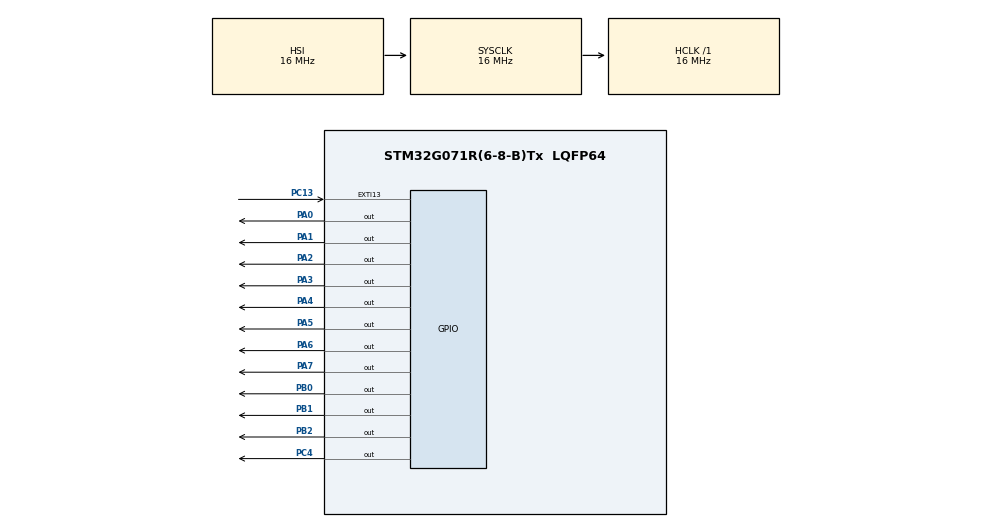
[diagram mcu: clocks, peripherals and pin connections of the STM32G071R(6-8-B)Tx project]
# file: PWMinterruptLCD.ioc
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Mcu.Family=STM32G0
Mcu.Name=STM32G071R(6-8-B)Tx
Mcu.Package=LQFP64
NVIC.EXTI4_15_IRQn=true\:0\:0\:false\:false\:true\:true\:true
PA0.Signal=GPIO_Output
PA1.Signal=GPIO_Output
PA2.Signal=GPIO_Output
PA3.Signal=GPIO_Output
PA4.Signal=GPIO_Output
PA5.Signal=GPIO_Output
PA6.Signal=GPIO_Output
PA7.Signal=GPIO_Output
PB0.Signal=GPIO_Output
PB1.Signal=GPIO_Output
PB2.Signal=GPIO_Output
PC13.GPIO_ModeDefaultEXTI=GPIO_MODE_IT_FALLING
PC13.Signal=GPXTI13
PC4.Signal=GPIO_Output
ProjectManager.HeapSize=0x200
ProjectManager.StackSize=0x400
ProjectManager.TargetToolchain=MDK-ARM V5.27
RCC.AHBFreq_Value=16000000
RCC.CortexFreq_Value=16000000
RCC.EXTERNAL_CLOCK_VALUE=48000
RCC.HCLKFreq_Value=16000000
RCC.HSE_VALUE=8000000
RCC.HSI_VALUE=16000000
RCC.LSE_VALUE=32768
RCC.SYSCLKFreq_VALUE=16000000
RCC.VCOOutputFreq_Value=128000000
VP_SYS_VS_DBSignals.Mode=DisableDeadBatterySignals
board=custom

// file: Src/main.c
/* USER CODE BEGIN Header */
/**
  ******************************************************************************
  * @file           : main.c
  * @brief          : Main program body
  ******************************************************************************
  * @attention
  *
  * <h2><center>&copy; Copyright (c) 2021 STMicroelectronics.
  * All rights reserved.</center></h2>
  *
  * This software component is licensed by ST under BSD 3-Clause license,
  * the "License"; You may not use this file except in compliance with the
  * License. You may obtain a copy of the License at:
  *                        opensource.org/licenses/BSD-3-Clause
  *
  ******************************************************************************
  */
/* USER CODE END Header */
#include "main.h"

#define u8  unsigned char
#define u16 unsigned int

void delay(void);
void lcdwritecmd(unsigned char cmd);
void lcdwritedata(unsigned char dat);
void lcdinit(void);
void lcdsetcursor(unsigned char x, unsigned char y);
void lcdshowstr(unsigned char x, unsigned char y, unsigned char *str);

int i=0;
unsigned char tstri[2];
int location=9;
int counter=0;
unsigned char tstr[5];

/* USER CODE BEGIN PTD */
ITStatus EXTI_GetITStatus(uint32_t EXTI_Line)
{
    ITStatus bitstatus = RESET; //chushi wei zhuangtai 0
    uint32_t enablestatus = 0;  //chushi shineng zhuangtai 0
    /* Check the parameters */
    assert_param(IS_GET_EXTI_LINE(EXTI_Line));

    enablestatus =  EXTI->IMR1 & EXTI_Line;
    if (((EXTI->FPR1 & EXTI_Line) != (uint32_t)RESET) && (enablestatus != (uint32_t)RESET))
		      bitstatus = SET;
    else
        bitstatus = RESET;
    return bitstatus;
}

void EXTI_ClearITPendingBit(uint32_t EXTI_Line)
{
  /* Check the parameters */
  assert_param(IS_EXTI_LINE(EXTI_Line));

  EXTI->FPR1 = EXTI_Line;
}
/* USER CODE END PTD */

void SystemClock_Config(void);
static void MX_GPIO_Init(void);

int main(void)
{

  /* MCU Configuration--------------------------------------------------------*/

  /* Reset of all peripherals, Initializes the Flash interface and the Systick. */
  HAL_Init();

  /* Configure the system clock */
  SystemClock_Config();

  /* Initialize all configured peripherals */
  MX_GPIO_Init();
  /* USER CODE BEGIN 2 */
  lcdinit();
	delay();
	lcdshowstr(0,0,"Level");
	lcdshowstr(6,0,"0");
	lcdshowstr(11,1,"times");
	sprintf(tstr,"%d",counter);
  lcdshowstr(location,1,tstr);
  /* USER CODE END 2 */

  /* Infinite loop */
  while (1)
  {
		if(i==0)
			HAL_GPIO_WritePin(GPIOC,GPIO_PIN_4,RESET);
		else if((i>0)&&(i<5))
		{
			HAL_GPIO_WritePin(GPIOC,GPIO_PIN_4,SET);
			HAL_Delay(i);
			HAL_GPIO_WritePin(GPIOC,GPIO_PIN_4,RESET);
			HAL_Delay(5-i);
		}
		else if(i==5)
			HAL_GPIO_WritePin(GPIOC,GPIO_PIN_4,SET);
		else
			i=0;
  }
}

void SystemClock_Config(void)
{
  RCC_OscInitTypeDef RCC_OscInitStruct = {0};
  RCC_ClkInitTypeDef RCC_ClkInitStruct = {0};

  /** Configure the main internal regulator output voltage
  */
  HAL_PWREx_ControlVoltageScaling(PWR_REGULATOR_VOLTAGE_SCALE1);
  /** Initializes the RCC Oscillators according to the specified parameters
  * in the RCC_OscInitTypeDef structure.
  */
  RCC_OscInitStruct.OscillatorType = RCC_OSCILLATORTYPE_HSI;
  RCC_OscInitStruct.HSIState = RCC_HSI_ON;
  RCC_OscInitStruct.HSIDiv = RCC_HSI_DIV1;
  RCC_OscInitStruct.HSICalibrationValue = RCC_HSICALIBRATION_DEFAULT;
  RCC_OscInitStruct.PLL.PLLState = RCC_PLL_NONE;
  if (HAL_RCC_OscConfig(&RCC_OscInitStruct) != HAL_OK)
  {
    Error_Handler();
  }
  /** Initializes the CPU, AHB and APB buses clocks
  */
  RCC_ClkInitStruct.ClockType = RCC_CLOCKTYPE_HCLK|RCC_CLOCKTYPE_SYSCLK
                              |RCC_CLOCKTYPE_PCLK1;
  RCC_ClkInitStruct.SYSCLKSource = RCC_SYSCLKSOURCE_HSI;
  RCC_ClkInitStruct.AHBCLKDivider = RCC_SYSCLK_DIV1;
  RCC_ClkInitStruct.APB1CLKDivider = RCC_HCLK_DIV1;

  if (HAL_RCC_ClockConfig(&RCC_ClkInitStruct, FLASH_LATENCY_0) != HAL_OK)
  {
    Error_Handler();
  }
}

static void MX_GPIO_Init(void)
{
  GPIO_InitTypeDef GPIO_InitStruct = {0};

  /* GPIO Ports Clock Enable */
  __HAL_RCC_GPIOC_CLK_ENABLE();
  __HAL_RCC_GPIOA_CLK_ENABLE();
  __HAL_RCC_GPIOB_CLK_ENABLE();

  /*Configure GPIO pin Output Level */
  HAL_GPIO_WritePin(GPIOA, GPIO_PIN_0|GPIO_PIN_1|GPIO_PIN_2|GPIO_PIN_3
                          |GPIO_PIN_4|GPIO_PIN_5|GPIO_PIN_6|GPIO_PIN_7, GPIO_PIN_RESET);

  /*Configure GPIO pin Output Level */
  HAL_GPIO_WritePin(GPIOC, GPIO_PIN_4, GPIO_PIN_RESET);

  /*Configure GPIO pin Output Level */
  HAL_GPIO_WritePin(GPIOB, GPIO_PIN_0|GPIO_PIN_1|GPIO_PIN_2, GPIO_PIN_RESET);

  /*Configure GPIO pin : PC13 */
  GPIO_InitStruct.Pin = GPIO_PIN_13;
  GPIO_InitStruct.Mode = GPIO_MODE_IT_FALLING;
  GPIO_InitStruct.Pull = GPIO_NOPULL;
  HAL_GPIO_Init(GPIOC, &GPIO_InitStruct);

  /*Configure GPIO pins : PA0 PA1 PA2 PA3
                           PA4 PA5 PA6 PA7 */
  GPIO_InitStruct.Pin = GPIO_PIN_0|GPIO_PIN_1|GPIO_PIN_2|GPIO_PIN_3
                          |GPIO_PIN_4|GPIO_PIN_5|GPIO_PIN_6|GPIO_PIN_7;
  GPIO_InitStruct.Mode = GPIO_MODE_OUTPUT_PP;
  GPIO_InitStruct.Pull = GPIO_NOPULL;
  GPIO_InitStruct.Speed = GPIO_SPEED_FREQ_LOW;
  HAL_GPIO_Init(GPIOA, &GPIO_InitStruct);

  /*Configure GPIO pin : PC4 */
  GPIO_InitStruct.Pin = GPIO_PIN_4;
  GPIO_InitStruct.Mode = GPIO_MODE_OUTPUT_PP;
  GPIO_InitStruct.Pull = GPIO_NOPULL;
  GPIO_InitStruct.Speed = GPIO_SPEED_FREQ_LOW;
  HAL_GPIO_Init(GPIOC, &GPIO_InitStruct);

  /*Configure GPIO pins : PB0 PB1 PB2 */
  GPIO_InitStruct.Pin = GPIO_PIN_0|GPIO_PIN_1|GPIO_PIN_2;
  GPIO_InitStruct.Mode = GPIO_MODE_OUTPUT_PP;
  GPIO_InitStruct.Pull = GPIO_NOPULL;
  GPIO_InitStruct.Speed = GPIO_SPEED_FREQ_LOW;
  HAL_GPIO_Init(GPIOB, &GPIO_InitStruct);

  /* EXTI interrupt init*/
  HAL_NVIC_SetPriority(EXTI4_15_IRQn, 0, 0);
  HAL_NVIC_EnableIRQ(EXTI4_15_IRQn);

}

/* USER CODE BEGIN 4 */
void delay ()
{
	for(int i=0;i<99;i++)
	  for(int j=0;j<99;j++)
	 {}
}

void lcdwritecmd(unsigned char cmd)
{
	// lcdwait();
	delay();
	GPIOB->ODR=0x00;  //E=0\RW=0\RS=0
	GPIOA->ODR=cmd;
	GPIOB->ODR=0x04;	//E=1\RW=0\RS=0
	delay();
	GPIOB->ODR=0x00;	//E=0\RW=0\RS=0
}

void lcdwritedata(unsigned char dat)
{
  //	lcdwait();
  delay();
	GPIOB->ODR=0x01;	//E=0\RW=0\RS=1
  GPIOA->ODR=dat;
	GPIOB->ODR=0x05;	//E=1\RW=0\RS=1
	delay();
	GPIOB->ODR=0x01;	//E=0\RW=0\RS=1
}

void lcdinit()
{
	lcdwritecmd(0x38);
	lcdwritecmd(0x0c);
	lcdwritecmd(0x06);
	lcdwritecmd(0x01);
}

void lcdsetcursor(unsigned char x, unsigned char y)
{
	unsigned char address;
	if(y==0)
		address=0x00+x;
	else
		address=0x40+x;
	lcdwritecmd(address|0x80);
}

void lcdshowstr(unsigned char x, unsigned char y, unsigned char *str)
{
	lcdsetcursor(x,y);
	while((*str)!='\0')
	{
		 lcdwritedata(*str);
  		str++;
	}
}

void EXTI4_15_IRQHandler(void)
{
	if (EXTI_GetITStatus(0x2000) != 0x00)  // 0x2000==EXTI_PIN_13
  {
		EXTI_ClearITPendingBit(0x2000);  //Clear interrupt flag bit

		if(i==5)
		{
			i=0;
			sprintf(tstri,"%d",i);
			lcdshowstr(6,0,tstri);
			counter++;     //interrupt users code
			if(counter>99)  lcdshowstr(0,1,"  !!!ERROR!!!   ");
			else if(counter>9)  location=8;
			sprintf(tstr,"%d",counter);
			lcdshowstr(location,1,tstr);
		}
		else
		{
			i++;
			sprintf(tstri,"%d",i);
			lcdshowstr(6,0,tstri);
		}
  }
}
/* USER CODE END 4 */

void Error_Handler(void)
{
  __disable_irq();
  while (1)
  {
  }
}

/************************ (C) COPYRIGHT STMicroelectronics *****END OF FILE****/
